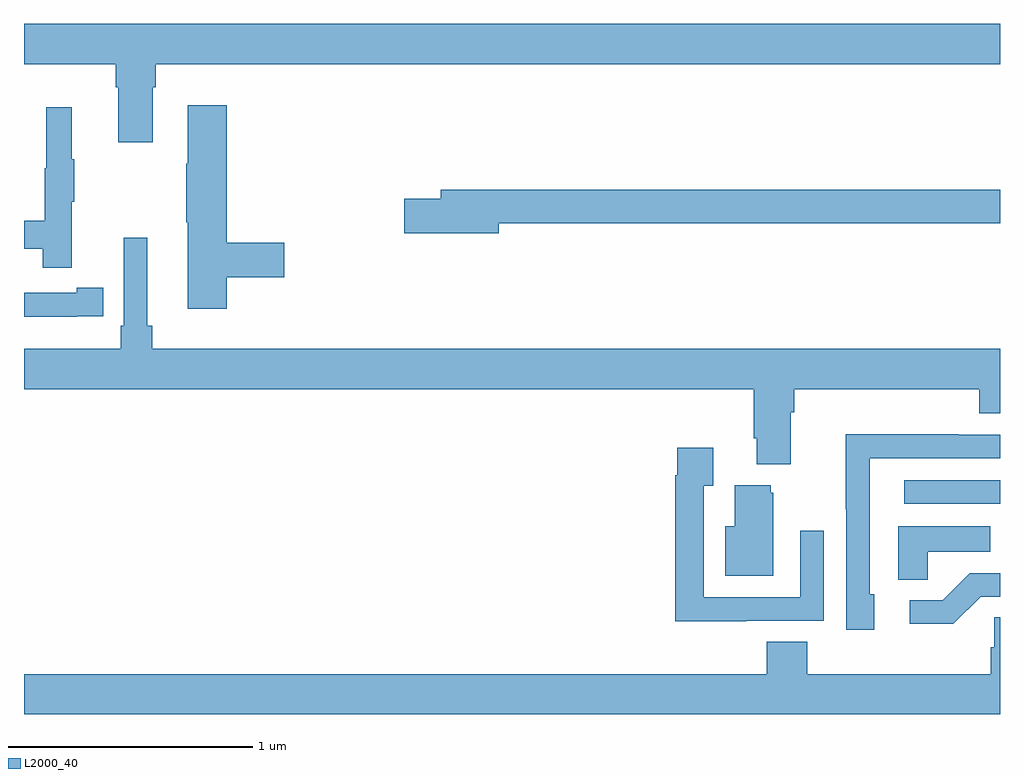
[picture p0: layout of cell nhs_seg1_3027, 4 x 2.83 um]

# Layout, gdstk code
import gdstk
lib = gdstk.Library(unit=1e-6, precision=1e-09)
def R(c, l, rs):  # rectangles x0, y0, x1, y1
    for r in rs: c.add(gdstk.rectangle(r[:2], r[2:], *l))
def P(c, l, *ps):  # polygons
    for p in ps: c.add(gdstk.Polygon(p, *l))
L2000_40 = (2000, 40)

nhs_seg1_3027 = lib.new_cell('nhs_seg1_3027')
R(nhs_seg1_3027, L2000_40, [(278.607,553.926,279,554.022)])
P(nhs_seg1_3027, L2000_40, [(275.527,555.632),(275.54,555.632),(275.54,555.728),(279,555.728),(279,555.892),(275,555.892),(275,555.728),(275.375,555.728),(275.375,555.632),(275.387,555.632),(275.387,555.408),(275.527,555.408)],
  [(275.831,554.854),(276.067,554.854),(276.067,554.996),(275.831,554.996),(275.831,555.559),(275.672,555.559),(275.672,555.32),(275.665,555.32),(275.665,555.079),(275.672,555.079),(275.672,554.724),(275.831,554.724)],
  [(275.195,555.163),(275.206,555.163),(275.206,555.337),(275.195,555.337),(275.195,555.55),(275.092,555.55),(275.092,555.3),(275.085,555.3),(275.085,555.086),(275,555.086),(275,554.97),(275.077,554.97),(275.077,554.892),(275.195,554.892)],
  [(276.946,555.076),(279,555.076),(279,555.212),(276.707,555.212),(276.707,555.176),(276.558,555.176),(276.558,555.034),(276.946,555.034)],
  [(278.143,554.3),(278.156,554.3),(278.156,554.396),(278.915,554.396),(278.915,554.297),(279,554.297),(279,554.56),(275.525,554.56),(275.525,554.656),(275.506,554.656),(275.506,555.016),(275.409,555.016),(275.409,554.656),(275.396,554.656),(275.396,554.56),(275,554.56),(275,554.396),(277.991,554.396),(277.991,554.194),(278.003,554.194),(278.003,554.087),(278.143,554.087)],
  [(275.216,554.694),(275.324,554.694),(275.324,554.81),(275.216,554.81),(275.216,554.79),(275,554.79),(275,554.693),(275.216,554.693)],
  [(278.485,553.554),(278.466,553.554),(278.466,554.112),(279,554.112),(279,554.208),(278.831,554.208),(278.831,554.21),(278.368,554.21),(278.368,553.903),(278.37,553.903),(278.37,553.41),(278.485,553.41)],
  [(277.961,553.446),(278.277,553.446),(278.277,553.816),(278.181,553.816),(278.181,553.542),(277.785,553.542),(277.785,553.999),(277.825,553.999),(277.825,554.155),(277.677,554.155),(277.677,554.042),(277.669,554.042),(277.669,553.445),(277.961,553.445)],
  [(278.071,553.971),(278.06,553.971),(278.06,554.002),(277.913,554.002),(277.913,553.834),(277.874,553.834),(277.874,553.631),(278.071,553.631)],
  [(278.703,553.73),(278.96,553.73),(278.96,553.834),(278.582,553.834),(278.582,553.615),(278.703,553.615)],
  [(278.922,553.545),(279,553.545),(279,553.641),(278.876,553.641),(278.765,553.53),(278.631,553.53),(278.631,553.433),(278.809,553.433)],
  [(279,553.46),(278.976,553.46),(278.976,553.337),(278.963,553.337),(278.963,553.228),(278.21,553.228),(278.21,553.361),(278.045,553.361),(278.045,553.228),(275,553.228),(275,553.064),(279,553.064)])

lib.write_gds('nhs_seg1_3027.gds')
